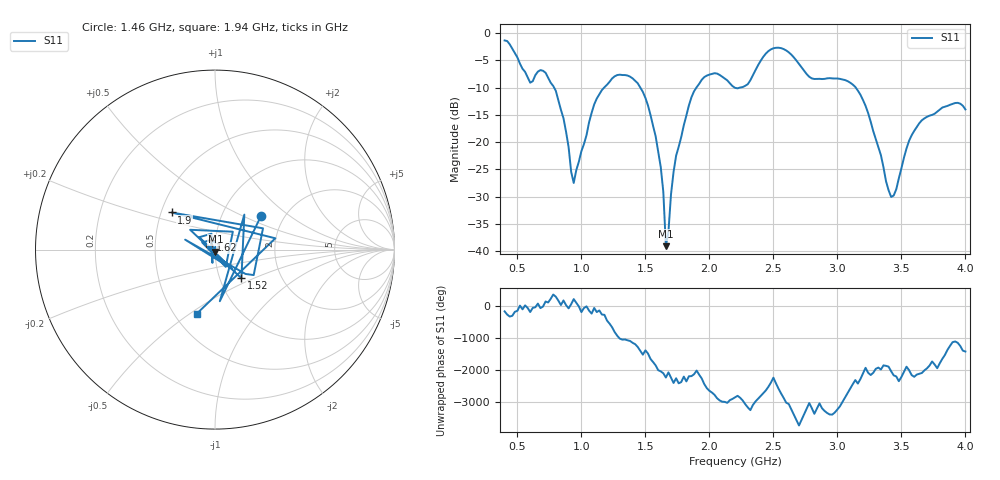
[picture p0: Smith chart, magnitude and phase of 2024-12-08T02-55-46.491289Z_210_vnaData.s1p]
!Created with skrf (http://scikit-rf.org).
# Hz S RI R 50.0
!freq ReS11 ImS11
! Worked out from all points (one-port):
!   181 points, 400 MHz to 4 GHz, reference 50 ohm
!   lowest |S11| = -39.1 dB at 1.66 GHz (marker M1), VSWR 1.02, Z = 50.2 - j1.09 ohm
!   |S11| at or under -10 dB: 786.5 MHz to 1.178 GHz (391.3 MHz wide, 39.8 % of centre); 1.46 GHz to 1.899 GHz (438.1 MHz wide, 26.1 % of centre); 3.143 GHz to end of sweep (the widest 3 of 4)
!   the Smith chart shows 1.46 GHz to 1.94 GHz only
!   S11 on the Smith chart (normalised r, x): 1.46 GHz: 1.53, +0.63; 1.52 GHz: 1.27, -0.42; 1.62 GHz: 0.95, +0.10; 1.9 GHz: 0.57, +0.26; 1.94 GHz: 0.64, -0.53
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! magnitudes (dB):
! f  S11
! 400 MHz  -1.4
! 600 MHz  -9.1
! 720 MHz  -7.3
! 860 MHz  -15.6
! 940 MHz  -27.5
! 1.1 GHz  -13.1
! 1.3 GHz  -7.6
! 1.46 GHz  -10.0
! 1.52 GHz  -13.3
! 1.62 GHz  -24.6
! 1.64 GHz  -29.1
! 1.66 GHz  -39.1
! 1.68 GHz  -36.4
! 1.72 GHz  -25.4
! 1.76 GHz  -20.9
! 1.9 GHz  -9.9
! 1.94 GHz  -8.6
! 2.2 GHz  -10.0
! 2.3 GHz  -9.4
! 2.48 GHz  -3.0
! 2.66 GHz  -4.5
! 2.8 GHz  -8.3
! 3.1 GHz  -9.1
! 3.22 GHz  -13.3
! 3.42 GHz  -30.0
! 3.56 GHz  -19.8
! 3.82 GHz  -13.7
! 4 GHz  -14.0
